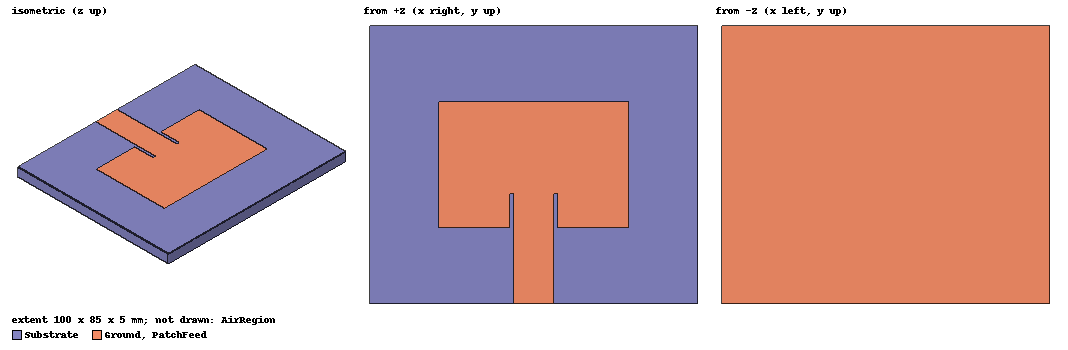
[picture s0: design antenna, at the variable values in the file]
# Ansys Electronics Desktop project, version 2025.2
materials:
  vacuum: permittivity=1
  AntennaSubstrate: permittivity=2.2 permeability=1 dielectric_loss_tangent=0.0009
  copper: permeability=0.999991 conductivity=58000000
  air: permittivity=1.0006 permeability=1.0000004

design antenna (HFSS, HFSS Modal Network, model units mm)
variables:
  freq0 = 2.45GHz
  sub_w = 100mm
  sub_l = 85mm
  sub_h = 5mm
  patch_w = 58mm
  patch_l = 38.4mm
  feed_w = 12mm
  inset_d = 10.5mm
  inset_gap = 1.4mm
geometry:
  Substrate [AntennaSubstrate] = box(corner=(-50mm, -42.5mm, 0mm), size=(100mm, 85mm, 5mm))
  Ground [copper] = rectangle(corner=(-50mm, -42.5mm, 0mm), x_size=100mm, y_size=85mm)
  PatchFeed [copper] = polyline(z=5mm, xy in mm: (-29, 19.2) (29, 19.2) (29, -19.2) (7.4, -19.2) (7.4, -8.7) (6, -8.7) (6, -42.5) (-6, -42.5) (-6, -8.7) (-7.4, -8.7) (-7.4, -19.2) (-29, -19.2) (-29, 19.2), closed, covered)
  Port1_sheet = polyline(y=-42.5mm, xz in mm: (-6, 0) (6, 0) (6, 5) (-6, 5) (-6, 0), closed, covered)
  AirRegion [air] = region(absolute_offset: +X=30mm, -X=30mm, +Y=30mm, -Y=30mm, +Z=45mm, -Z=18mm)
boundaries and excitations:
  PEC_Metals: Perfect E Objects=[Ground, PatchFeed]
  Rad1: Radiation Objects=AirRegion
  Port1: Lumped Port Objects=Port1_sheet LumpedPortType=Modal Modes{Mode1{IntLine{(0, -42.5, 5) -> (0, -42.5, 0)} CharImp=Zpi RenormImp=50ohm}} Impedance=50ohm
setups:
  Setup1: HfssDriven Frequency=2.45GHz MaxDeltaS=0.02 MaximumPasses=12 MinimumPasses=2 MinimumConvergedPasses=1 PercentRefinement=30 BasisOrder=1 PortAccuracy=2 DrivenSolverType="Direct Solver"
    sweep Sweep1: 2GHz to 2.9GHz, 501 points; Type=Interpolating SaveRadFields InterpTolerance=0.5 InterpMaxSolns=250 InterpUsePortImped=false PassivityErrorTolerance=0.0001
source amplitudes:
  Port1:1: 1W 0deg
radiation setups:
  InfiniteSphere1: Infinite Sphere Theta=0deg..180deg step 5deg Phi=-180deg..180deg step 5deg
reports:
  S Parameter Plot1: dB(S(Port1,Port1)) vs Freq on Setup1 : Sweep1
  Antenna Params Table1: dB(PeakDirectivity), dB(PeakGain), dB(PeakRealizedGain), SystemEfficiency, RadiationEfficiency, TotalEfficiency vs Freq on Setup1 : LastAdaptive
